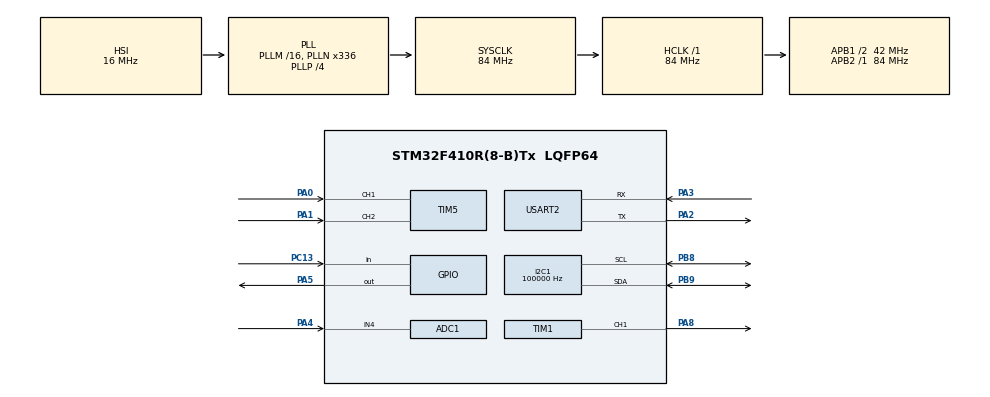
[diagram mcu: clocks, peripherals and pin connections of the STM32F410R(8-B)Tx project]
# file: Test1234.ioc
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ADC1.Channel-2\#ChannelRegularConversion=ADC_CHANNEL_4
ADC1.NbrOfConversionFlag=1
ADC1.Rank-2\#ChannelRegularConversion=1
ADC1.SamplingTime-2\#ChannelRegularConversion=ADC_SAMPLETIME_3CYCLES
ADC1.master=1
I2C1.ClockSpeed=100000
I2C1.I2C_Mode=I2C_Fast
Mcu.Family=STM32F4
Mcu.Name=STM32F410R(8-B)Tx
Mcu.Package=LQFP64
NVIC.PriorityGroup=NVIC_PRIORITYGROUP_0
PA0-WKUP.Signal=S_TIM5_CH1
PA1.Signal=S_TIM5_CH2
PA2.Mode=Asynchronous
PA2.Signal=USART2_TX
PA3.Mode=Asynchronous
PA3.Signal=USART2_RX
PA4.Signal=ADCx_IN4
PA5.Signal=GPIO_Output
PA8.Signal=S_TIM1_CH1
PB8.Mode=I2C
PB8.Signal=I2C1_SCL
PB9.Mode=I2C
PB9.Signal=I2C1_SDA
PC13-ANTI_TAMP.Signal=GPIO_Input
ProjectManager.HeapSize=0x200
ProjectManager.StackSize=0x400
ProjectManager.TargetToolchain=STM32CubeIDE
RCC.48MHZClocksFreq_Value=84000000
RCC.AHBFreq_Value=84000000
RCC.APB1CLKDivider=RCC_HCLK_DIV2
RCC.APB1Freq_Value=42000000
RCC.APB1TimFreq_Value=84000000
RCC.APB2Freq_Value=84000000
RCC.APB2TimFreq_Value=84000000
RCC.CortexFreq_Value=84000000
RCC.FLatency-AdvancedSettings=FLASH_LATENCY_2
RCC.HCLKFreq_Value=84000000
RCC.HSE_VALUE=8000000
RCC.HSI_VALUE=16000000
RCC.LSE_VALUE=32768
RCC.PLLN=336
RCC.PLLP=RCC_PLLP_DIV4
RCC.SYSCLKFreq_VALUE=84000000
RCC.SYSCLKSource=RCC_SYSCLKSOURCE_PLLCLK
RCC.VCOOutputFreq_Value=336000000
SH.ADCx_IN4.0=ADC1_IN4,IN4
SH.S_TIM1_CH1.0=TIM1_CH1,PWM Generation1 CH1
SH.S_TIM5_CH1.0=TIM5_CH1,Encoder_Interface
SH.S_TIM5_CH2.0=TIM5_CH2,Encoder_Interface
TIM1.Channel-PWM\ Generation1\ CH1=TIM_CHANNEL_1
TIM1.Period=999
TIM1.Prescaler=83
USART2.VirtualMode=VM_ASYNC
board=NUCLEO-F410RB

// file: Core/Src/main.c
/* USER CODE BEGIN Header */
/**
  ******************************************************************************
  * @file           : main.c
  * @brief          : Main program body
  ******************************************************************************
  * @attention
  *
  * Copyright (c) 2026 STMicroelectronics.
  * All rights reserved.
  *
  * This software is licensed under terms that can be found in the LICENSE file
  * in the root directory of this software component.
  * If no LICENSE file comes with this software, it is provided AS-IS.
  *
  ******************************************************************************
  */
/* USER CODE END Header */
#include "main.h"

/* USER CODE BEGIN Includes */
#include <stdio.h>
#include <string.h>
#include <stdlib.h>
#include "ssd1306.h"
#include "fonts.h"
/* USER CODE END Includes */

ADC_HandleTypeDef hadc1;

I2C_HandleTypeDef hi2c1;

TIM_HandleTypeDef htim1;
TIM_HandleTypeDef htim5;

UART_HandleTypeDef huart2;

/* USER CODE BEGIN PV */
#define MOTOR_MAX_RPM     1500
#define ENCODER_PPR       100
// --- ตัวแปร PWM & ADC ---
uint32_t adc_val = 0;
uint32_t freq_hz = 500;
uint16_t duty_val = 20;
uint32_t arr_val = 1999;
uint32_t ccr_val = 400;
float period_ms = 2.00f;
float rpm_disp = 300.0f;
uint8_t vr_pct = 0;
// --- ตัวแปร Encoder & ทิศทางหมุน (CW / CCW / STOP) ---
uint32_t current_count = 0;
uint32_t prev_count = 0;
int32_t diff_count = 0;
char dir_str[6] = "CW";      // แสดง CW, CCW, หรือ STOP
// --- ตัวจับเวลา ---
uint32_t last_adc_tick = 0;
uint32_t last_enc_tick = 0;
uint32_t last_oled_tick = 0;
char disp_str[32];
/* USER CODE END PV */

void SystemClock_Config(void);
static void MX_GPIO_Init(void);
static void MX_USART2_UART_Init(void);
static void MX_TIM1_Init(void);
static void MX_I2C1_Init(void);
static void MX_TIM5_Init(void);
static void MX_ADC1_Init(void);

/* USER CODE BEGIN 0 */
uint32_t Read_ADC_Filtered(void)
{
    uint32_t sum = 0;
    for (int i = 0; i < 8; i++) // สุ่มอ่าน 8 ครั้งหาค่าเฉลี่ย
    {
        HAL_ADC_Start(&hadc1);
        if (HAL_ADC_PollForConversion(&hadc1, 5) == HAL_OK)
        {
            sum += HAL_ADC_GetValue(&hadc1); // อ่านค่าจาก PA4 (Channel 4)
        }
        HAL_ADC_Stop(&hadc1);
    }
    return sum / 8; // ได้ค่า adc_val ช่วง 0 - 4095
}
// ระบบ I2C Auto-Recovery ป้องกันจอค้างจากสัญญาณรบกวนของมอเตอร์
void OLED_CheckAndRecoverI2C(void)
{
    if (hi2c1.State != HAL_I2C_STATE_READY || hi2c1.ErrorCode != HAL_I2C_ERROR_NONE)
    {
        __HAL_RCC_I2C1_FORCE_RESET();
        HAL_Delay(2);
        __HAL_RCC_I2C1_RELEASE_RESET();
        HAL_I2C_Init(&hi2c1);
    }
}
// ฟังก์ชันวาดแถบ Progress Bar
void OLED_DrawBar(uint8_t x, uint8_t y, uint8_t w, uint8_t h, uint8_t pct)
{
    if (pct > 100) pct = 100;
    ssd1306_DrawRectangle(x, y, w, h, White);
    uint8_t fill_w = (uint8_t)(((uint16_t)(w - 4) * pct) / 100);
    for (uint8_t i = 2; i < h - 2; i++)
    {
        if (fill_w > 0)
        {
            ssd1306_DrawLine(x + 2, y + i, x + 2 + fill_w, y + i, White);
        }
    }
}
/* USER CODE END 0 */

int main(void)
{

  /* MCU Configuration--------------------------------------------------------*/

  /* Reset of all peripherals, Initializes the Flash interface and the Systick. */
  HAL_Init();

  /* Configure the system clock */
  SystemClock_Config();

  /* Initialize all configured peripherals */
  MX_GPIO_Init();
  MX_USART2_UART_Init();
  MX_TIM1_Init();
  MX_I2C1_Init();
  MX_TIM5_Init();
  MX_ADC1_Init();
  /* USER CODE BEGIN 2 */
   // 1. ตั้งค่า Timer Preload
  // 1. ตั้งค่า Timer Preload
    __HAL_TIM_ENABLE_OCxPRELOAD(&htim1, TIM_CHANNEL_1);
    htim1.Instance->CR1 |= TIM_CR1_ARPE;
    // 2. เริ่มต้น PWM
    __HAL_TIM_SET_AUTORELOAD(&htim1, 1999);
    __HAL_TIM_SET_COMPARE(&htim1, TIM_CHANNEL_1, 400);
    HAL_TIM_PWM_Start(&htim1, TIM_CHANNEL_1);
    // 3. เริ่มต้นตัวนับ Encoder (htim5 ขา PA0/PA1) 👈 เพิ่มบรรทัดนี้
    HAL_TIM_Encoder_Start(&htim5, TIM_CHANNEL_ALL);
    // 4. เริ่มต้นหน้าจอ OLED
    HAL_Delay(100);
    ssd1306_Init();
    ssd1306_Fill(Black);
    ssd1306_SetCursor(10, 20);
    ssd1306_WriteString("OLED SYSTEM OK", Font_7x10, White);
    ssd1306_SetCursor(10, 36);
    ssd1306_WriteString("We are love WRA.", Font_7x10, White);
    ssd1306_UpdateScreen();
    HAL_Delay(500);
   /* USER CODE END 2 */
  /* Infinite loop */
      while (1)
      {

    	  /* USER CODE BEGIN 3 */
    	     // -------------------------------------------------------------------------
    	     // 1. อ่านค่า ADC (PA4 / A2) และคำนวณ Freq + Duty ทุก 30 ms
    	     // -------------------------------------------------------------------------
    	     if (HAL_GetTick() - last_adc_tick >= 30)
    	     {
    	         last_adc_tick = HAL_GetTick();
    	         adc_val = Read_ADC_Filtered();
    	         vr_pct = (uint8_t)(((uint32_t)adc_val * 100) / 4095);
    	         if (vr_pct > 100) vr_pct = 100;
    	         freq_hz = 500 + (((uint32_t)adc_val * 700) / 4095);
    	         duty_val = 20 + (uint16_t)(((uint32_t)adc_val * 60) / 4095);
    	         if (duty_val > 80) duty_val = 80;
    	         arr_val = (1000000UL / freq_hz) - 1;
    	         ccr_val = ((arr_val + 1) * (uint32_t)duty_val) / 100;
    	         __HAL_TIM_SET_AUTORELOAD(&htim1, arr_val);
    	         __HAL_TIM_SET_COMPARE(&htim1, TIM_CHANNEL_1, ccr_val);
    	         period_ms = 1000.0f / (float)freq_hz;
    	     }
    	     // -------------------------------------------------------------------------
    	     // 2. คำนวณความเร็วรอบ (RPM) และทิศทางหมุน (CW / CCW) ทุก 100 ms 👈 เพิ่มส่วนนี้
    	     // -------------------------------------------------------------------------
    	     if (HAL_GetTick() - last_enc_tick >= 100)
    	     {
    	         uint32_t dt = HAL_GetTick() - last_enc_tick;
    	         last_enc_tick = HAL_GetTick();
    	         current_count = __HAL_TIM_GET_COUNTER(&htim5);
    	         diff_count = (int32_t)(current_count - prev_count);
    	         prev_count = current_count;
    	         // มีสัญญาณหมุนจาก Encoder จริง (กรองสัญญาณรบกวน threshold > 5)
    	         if (abs(diff_count) > 5)
    	         {
    	             if (diff_count > 0) strcpy(dir_str, "CW");
    	             else strcpy(dir_str, "CCW");
    	             rpm_disp = ((float)abs(diff_count) * 60000.0f) / ((4.0f * ENCODER_PPR) * (float)dt);
    	         }
    	         else
    	         {
    	             // คำนวณจาก Duty Cycle (ฐาน 1500 RPM)
    	             if (duty_val > 0)
    	             {
    	                 strcpy(dir_str, "CW");
    	                 rpm_disp = ((float)duty_val * (float)MOTOR_MAX_RPM) / 100.0f;
    	             }
    	             else
    	             {
    	                 strcpy(dir_str, "STOP");
    	                 rpm_disp = 0.0f;
    	             }
    	         }
    	     }
    	     // -------------------------------------------------------------------------
    	     // 3. รีเฟรชหน้าจอ OLED ทุก 150 ms
    	     // -------------------------------------------------------------------------
    	     if (HAL_GetTick() - last_oled_tick >= 150)
    	     {
    	         last_oled_tick = HAL_GetTick();
    	         OLED_CheckAndRecoverI2C();
    	         ssd1306_Fill(Black);
    	         // บรรทัดที่ 1: Header
    	         ssd1306_SetCursor(10, 0);
    	         ssd1306_WriteString("We are love WRA.", Font_7x10, White);
    	         // บรรทัดที่ 2: ความถี่ & คาบเวลา
    	         uint32_t p_int = (uint32_t)period_ms;
    	         uint32_t p_dec = (uint32_t)((period_ms - (float)p_int) * 100.0f);
    	         sprintf(disp_str, "F:%4luHz T:%lu.%02lums", freq_hz, p_int, p_dec);
    	         ssd1306_SetCursor(2, 12);
    	         ssd1306_WriteString(disp_str, Font_7x10, White);
    	         // บรรทัดที่ 3: Duty Cycle (20 - 80%)
    	         sprintf(disp_str, "Duty : %2u %%", duty_val);
    	         ssd1306_SetCursor(2, 24);
    	         ssd1306_WriteString(disp_str, Font_7x10, White);
    	         // บรรทัดที่ 4: ความเร็วรอบ RPM พร้อมทิศทาง [CW] / [CCW] 👈 บรรทัดนี้จะแสดง CW/CCW
    	         sprintf(disp_str, "RPM  : %4u [%s]", (uint16_t)rpm_disp, dir_str);
    	         ssd1306_SetCursor(2, 36);
    	         ssd1306_WriteString(disp_str, Font_7x10, White);
    	         // บรรทัดที่ 5: ค่า Timer Register จริง
    	         sprintf(disp_str, "ARR:%4lu CCR:%4lu", arr_val, ccr_val);
    	         ssd1306_SetCursor(2, 48);
    	         ssd1306_WriteString(disp_str, Font_7x10, White);
    	         // บรรทัดที่ 6: แถบ Progress Bar (0 - 100%)
    	         OLED_DrawBar(2, 58, 124, 6, vr_pct);
    	         ssd1306_UpdateScreen();
    	     }
    	     /* USER CODE END 3 */
      }
}

void SystemClock_Config(void)
{
  RCC_OscInitTypeDef RCC_OscInitStruct = {0};
  RCC_ClkInitTypeDef RCC_ClkInitStruct = {0};

  /** Configure the main internal regulator output voltage
  */
  __HAL_RCC_PWR_CLK_ENABLE();
  __HAL_PWR_VOLTAGESCALING_CONFIG(PWR_REGULATOR_VOLTAGE_SCALE1);

  /** Initializes the RCC Oscillators according to the specified parameters
  * in the RCC_OscInitTypeDef structure.
  */
  RCC_OscInitStruct.OscillatorType = RCC_OSCILLATORTYPE_HSI;
  RCC_OscInitStruct.HSIState = RCC_HSI_ON;
  RCC_OscInitStruct.HSICalibrationValue = RCC_HSICALIBRATION_DEFAULT;
  RCC_OscInitStruct.PLL.PLLState = RCC_PLL_ON;
  RCC_OscInitStruct.PLL.PLLSource = RCC_PLLSOURCE_HSI;
  RCC_OscInitStruct.PLL.PLLM = 16;
  RCC_OscInitStruct.PLL.PLLN = 336;
  RCC_OscInitStruct.PLL.PLLP = RCC_PLLP_DIV4;
  RCC_OscInitStruct.PLL.PLLQ = 4;
  RCC_OscInitStruct.PLL.PLLR = 2;
  if (HAL_RCC_OscConfig(&RCC_OscInitStruct) != HAL_OK)
  {
    Error_Handler();
  }

  /** Initializes the CPU, AHB and APB buses clocks
  */
  RCC_ClkInitStruct.ClockType = RCC_CLOCKTYPE_HCLK|RCC_CLOCKTYPE_SYSCLK
                              |RCC_CLOCKTYPE_PCLK1|RCC_CLOCKTYPE_PCLK2;
  RCC_ClkInitStruct.SYSCLKSource = RCC_SYSCLKSOURCE_PLLCLK;
  RCC_ClkInitStruct.AHBCLKDivider = RCC_SYSCLK_DIV1;
  RCC_ClkInitStruct.APB1CLKDivider = RCC_HCLK_DIV2;
  RCC_ClkInitStruct.APB2CLKDivider = RCC_HCLK_DIV1;

  if (HAL_RCC_ClockConfig(&RCC_ClkInitStruct, FLASH_LATENCY_2) != HAL_OK)
  {
    Error_Handler();
  }
}

static void MX_ADC1_Init(void)
{

  ADC_ChannelConfTypeDef sConfig = {0};

  /** Configure the global features of the ADC (Clock, Resolution, Data Alignment and number of conversion)
  */
  hadc1.Instance = ADC1;
  hadc1.Init.ClockPrescaler = ADC_CLOCK_SYNC_PCLK_DIV4;
  hadc1.Init.Resolution = ADC_RESOLUTION_12B;
  hadc1.Init.ScanConvMode = DISABLE;
  hadc1.Init.ContinuousConvMode = DISABLE;
  hadc1.Init.DiscontinuousConvMode = DISABLE;
  hadc1.Init.ExternalTrigConvEdge = ADC_EXTERNALTRIGCONVEDGE_NONE;
  hadc1.Init.ExternalTrigConv = ADC_SOFTWARE_START;
  hadc1.Init.DataAlign = ADC_DATAALIGN_RIGHT;
  hadc1.Init.NbrOfConversion = 1;
  hadc1.Init.DMAContinuousRequests = DISABLE;
  hadc1.Init.EOCSelection = ADC_EOC_SINGLE_CONV;
  if (HAL_ADC_Init(&hadc1) != HAL_OK)
  {
    Error_Handler();
  }

  /** Configure for the selected ADC regular channel its corresponding rank in the sequencer and its sample time.
  */
  sConfig.Channel = ADC_CHANNEL_4;
  sConfig.Rank = 1;
  sConfig.SamplingTime = ADC_SAMPLETIME_3CYCLES;
  if (HAL_ADC_ConfigChannel(&hadc1, &sConfig) != HAL_OK)
  {
    Error_Handler();
  }

}

static void MX_I2C1_Init(void)
{

  hi2c1.Instance = I2C1;
  hi2c1.Init.ClockSpeed = 100000;
  hi2c1.Init.DutyCycle = I2C_DUTYCYCLE_2;
  hi2c1.Init.OwnAddress1 = 0;
  hi2c1.Init.AddressingMode = I2C_ADDRESSINGMODE_7BIT;
  hi2c1.Init.DualAddressMode = I2C_DUALADDRESS_DISABLE;
  hi2c1.Init.OwnAddress2 = 0;
  hi2c1.Init.GeneralCallMode = I2C_GENERALCALL_DISABLE;
  hi2c1.Init.NoStretchMode = I2C_NOSTRETCH_DISABLE;
  if (HAL_I2C_Init(&hi2c1) != HAL_OK)
  {
    Error_Handler();
  }

}

static void MX_TIM1_Init(void)
{

  TIM_MasterConfigTypeDef sMasterConfig = {0};
  TIM_OC_InitTypeDef sConfigOC = {0};
  TIM_BreakDeadTimeConfigTypeDef sBreakDeadTimeConfig = {0};

  htim1.Instance = TIM1;
  htim1.Init.Prescaler = 83;
  htim1.Init.CounterMode = TIM_COUNTERMODE_UP;
  htim1.Init.Period = 999;
  htim1.Init.ClockDivision = TIM_CLOCKDIVISION_DIV1;
  htim1.Init.RepetitionCounter = 0;
  htim1.Init.AutoReloadPreload = TIM_AUTORELOAD_PRELOAD_DISABLE;
  if (HAL_TIM_PWM_Init(&htim1) != HAL_OK)
  {
    Error_Handler();
  }
  sMasterConfig.MasterOutputTrigger = TIM_TRGO_RESET;
  sMasterConfig.MasterSlaveMode = TIM_MASTERSLAVEMODE_DISABLE;
  if (HAL_TIMEx_MasterConfigSynchronization(&htim1, &sMasterConfig) != HAL_OK)
  {
    Error_Handler();
  }
  sConfigOC.OCMode = TIM_OCMODE_PWM1;
  sConfigOC.Pulse = 0;
  sConfigOC.OCPolarity = TIM_OCPOLARITY_HIGH;
  sConfigOC.OCNPolarity = TIM_OCNPOLARITY_HIGH;
  sConfigOC.OCFastMode = TIM_OCFAST_DISABLE;
  sConfigOC.OCIdleState = TIM_OCIDLESTATE_RESET;
  sConfigOC.OCNIdleState = TIM_OCNIDLESTATE_RESET;
  if (HAL_TIM_PWM_ConfigChannel(&htim1, &sConfigOC, TIM_CHANNEL_1) != HAL_OK)
  {
    Error_Handler();
  }
  sBreakDeadTimeConfig.OffStateRunMode = TIM_OSSR_DISABLE;
  sBreakDeadTimeConfig.OffStateIDLEMode = TIM_OSSI_DISABLE;
  sBreakDeadTimeConfig.LockLevel = TIM_LOCKLEVEL_OFF;
  sBreakDeadTimeConfig.DeadTime = 0;
  sBreakDeadTimeConfig.BreakState = TIM_BREAK_DISABLE;
  sBreakDeadTimeConfig.BreakPolarity = TIM_BREAKPOLARITY_HIGH;
  sBreakDeadTimeConfig.AutomaticOutput = TIM_AUTOMATICOUTPUT_DISABLE;
  if (HAL_TIMEx_ConfigBreakDeadTime(&htim1, &sBreakDeadTimeConfig) != HAL_OK)
  {
    Error_Handler();
  }
  HAL_TIM_MspPostInit(&htim1);

}

static void MX_TIM5_Init(void)
{

  TIM_Encoder_InitTypeDef sConfig = {0};
  TIM_MasterConfigTypeDef sMasterConfig = {0};

  htim5.Instance = TIM5;
  htim5.Init.Prescaler = 0;
  htim5.Init.CounterMode = TIM_COUNTERMODE_UP;
  htim5.Init.Period = 4294967295;
  htim5.Init.ClockDivision = TIM_CLOCKDIVISION_DIV1;
  htim5.Init.AutoReloadPreload = TIM_AUTORELOAD_PRELOAD_DISABLE;
  sConfig.EncoderMode = TIM_ENCODERMODE_TI1;
  sConfig.IC1Polarity = TIM_ICPOLARITY_RISING;
  sConfig.IC1Selection = TIM_ICSELECTION_DIRECTTI;
  sConfig.IC1Prescaler = TIM_ICPSC_DIV1;
  sConfig.IC1Filter = 0;
  sConfig.IC2Polarity = TIM_ICPOLARITY_RISING;
  sConfig.IC2Selection = TIM_ICSELECTION_DIRECTTI;
  sConfig.IC2Prescaler = TIM_ICPSC_DIV1;
  sConfig.IC2Filter = 0;
  if (HAL_TIM_Encoder_Init(&htim5, &sConfig) != HAL_OK)
  {
    Error_Handler();
  }
  sMasterConfig.MasterOutputTrigger = TIM_TRGO_RESET;
  sMasterConfig.MasterSlaveMode = TIM_MASTERSLAVEMODE_DISABLE;
  if (HAL_TIMEx_MasterConfigSynchronization(&htim5, &sMasterConfig) != HAL_OK)
  {
    Error_Handler();
  }

}

static void MX_USART2_UART_Init(void)
{

  huart2.Instance = USART2;
  huart2.Init.BaudRate = 115200;
  huart2.Init.WordLength = UART_WORDLENGTH_8B;
  huart2.Init.StopBits = UART_STOPBITS_1;
  huart2.Init.Parity = UART_PARITY_NONE;
  huart2.Init.Mode = UART_MODE_TX_RX;
  huart2.Init.HwFlowCtl = UART_HWCONTROL_NONE;
  huart2.Init.OverSampling = UART_OVERSAMPLING_16;
  if (HAL_UART_Init(&huart2) != HAL_OK)
  {
    Error_Handler();
  }

}

static void MX_GPIO_Init(void)
{
  GPIO_InitTypeDef GPIO_InitStruct = {0};

  /* GPIO Ports Clock Enable */
  __HAL_RCC_GPIOC_CLK_ENABLE();
  __HAL_RCC_GPIOA_CLK_ENABLE();
  __HAL_RCC_GPIOB_CLK_ENABLE();

  /*Configure GPIO pin Output Level */
  HAL_GPIO_WritePin(GPIOA, GPIO_PIN_5, GPIO_PIN_RESET);

  /*Configure GPIO pin : PC13 */
  GPIO_InitStruct.Pin = GPIO_PIN_13;
  GPIO_InitStruct.Mode = GPIO_MODE_INPUT;
  GPIO_InitStruct.Pull = GPIO_NOPULL;
  HAL_GPIO_Init(GPIOC, &GPIO_InitStruct);

  /*Configure GPIO pin : PA5 */
  GPIO_InitStruct.Pin = GPIO_PIN_5;
  GPIO_InitStruct.Mode = GPIO_MODE_OUTPUT_PP;
  GPIO_InitStruct.Pull = GPIO_NOPULL;
  GPIO_InitStruct.Speed = GPIO_SPEED_FREQ_LOW;
  HAL_GPIO_Init(GPIOA, &GPIO_InitStruct);

}

void Error_Handler(void)
{
  __disable_irq();
  while (1)
  {
  }
}
